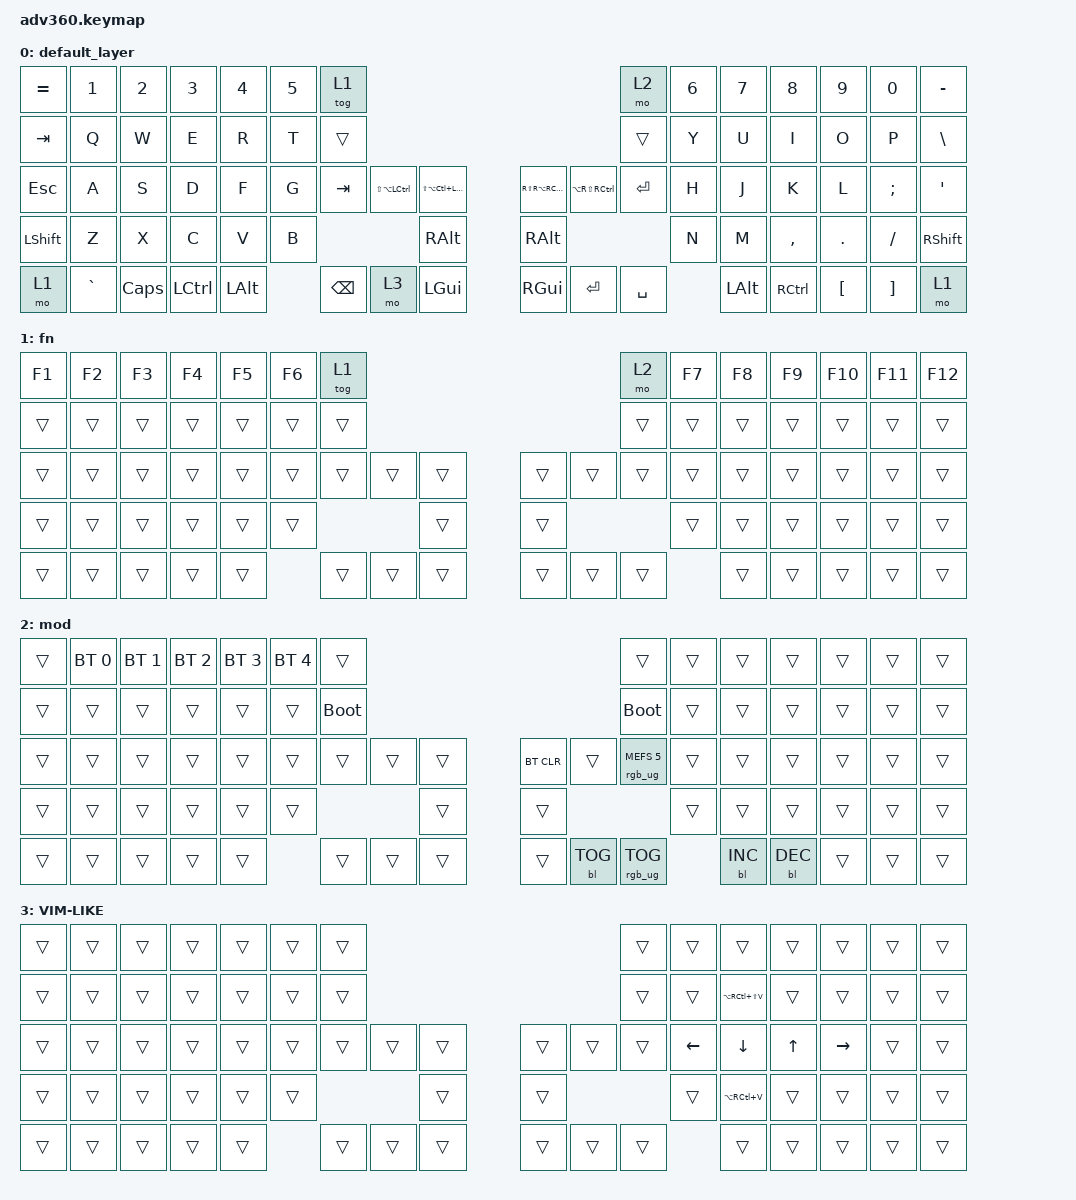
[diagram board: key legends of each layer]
#include <behaviors.dtsi>
#include <dt-bindings/zmk/backlight.h>
#include <dt-bindings/zmk/bt.h>
#include <dt-bindings/zmk/keys.h>
#include <dt-bindings/zmk/rgb.h>

/ {
    behaviors {
        #include "macros.dtsi"

        hm: homerow_mods {
            compatible = "zmk,behavior-hold-tap";
            label = "HOMEROW_MODS";
            #binding-cells = <2>;
            tapping-term-ms = <200>;
            quick_tap_ms = <175>;
            flavor = "tap-preferred";
            bindings = <&kp>, <&kp>;
        };
    };

    macros {
    };

    keymap {
        compatible = "zmk,keymap";

        default_layer {
            bindings = <
&kp EQUAL  &kp N1     &kp N2    &kp N3     &kp N4    &kp N5  &tog 1                                                                                          &mo 2      &kp N6  &kp N7    &kp N8     &kp N9    &kp N0    &kp MINUS
&kp TAB    &kp Q      &kp W     &kp E      &kp R     &kp T   &trans                                                                                          &trans     &kp Y   &kp U     &kp I      &kp O     &kp P     &kp BSLH
&kp ESC    &kp A      &kp S     &kp D      &kp F     &kp G   &kp TAB   &kp LS(LA(LCTRL))  &kp LS(LA(LC(LGUI)))      &kp RS(RA(RC(RGUI)))  &kp LA(RS(RCTRL))  &kp ENTER  &kp H   &kp J     &kp K      &kp L     &kp SEMI  &kp SQT
&kp LSHFT  &kp Z      &kp X     &kp C      &kp V     &kp B                                &kp RALT                  &kp RALT                                            &kp N   &kp M     &kp COMMA  &kp DOT   &kp FSLH  &kp RSHFT
&mo 1      &kp GRAVE  &kp CAPS  &kp LCTRL  &kp LALT          &kp BSPC  &mo 3              &kp LGUI                  &kp RGUI              &kp ENTER          &kp SPACE          &kp LALT  &kp RCTRL  &kp LBKT  &kp RBKT  &mo 1
            >;
        };

        fn {
            bindings = <
&kp F1  &kp F2  &kp F3  &kp F4  &kp F5  &kp F6  &tog 1                                      &mo 2   &kp F7  &kp F8  &kp F9  &kp F10  &kp F11  &kp F12
&trans  &trans  &trans  &trans  &trans  &trans  &trans                                      &trans  &trans  &trans  &trans  &trans   &trans   &trans
&trans  &trans  &trans  &trans  &trans  &trans  &trans  &trans  &trans      &trans  &trans  &trans  &trans  &trans  &trans  &trans   &trans   &trans
&trans  &trans  &trans  &trans  &trans  &trans                  &trans      &trans                  &trans  &trans  &trans  &trans   &trans   &trans
&trans  &trans  &trans  &trans  &trans          &trans  &trans  &trans      &trans  &trans  &trans          &trans  &trans  &trans   &trans   &trans
            >;
        };

        mod {
            bindings = <
&trans  &bt BT_SEL 0  &bt BT_SEL 1  &bt BT_SEL 2  &bt BT_SEL 3  &bt BT_SEL 4  &trans                                                   &trans                  &trans  &trans      &trans      &trans  &trans  &trans
&trans  &trans        &trans        &trans        &trans        &trans        &bootloader                                              &bootloader             &trans  &trans      &trans      &trans  &trans  &trans
&trans  &trans        &trans        &trans        &trans        &trans        &trans       &trans  &trans      &bt BT_CLR  &trans      &rgb_ug RGB_MEFS_CMD 5  &trans  &trans      &trans      &trans  &trans  &trans
&trans  &trans        &trans        &trans        &trans        &trans                             &trans      &trans                                          &trans  &trans      &trans      &trans  &trans  &trans
&trans  &trans        &trans        &trans        &trans                      &trans       &trans  &trans      &trans      &bl BL_TOG  &rgb_ug RGB_TOG                 &bl BL_INC  &bl BL_DEC  &trans  &trans  &trans
            >;
        };

        VIM-LIKE {
            bindings = <
&trans  &trans  &trans  &trans  &trans  &trans  &trans                                      &trans  &trans    &trans             &trans  &trans     &trans  &trans
&trans  &trans  &trans  &trans  &trans  &trans  &trans                                      &trans  &trans    &kp LA(RC(LS(V)))  &trans  &trans     &trans  &trans
&trans  &trans  &trans  &trans  &trans  &trans  &trans  &trans  &trans      &trans  &trans  &trans  &kp LEFT  &kp DOWN           &kp UP  &kp RIGHT  &trans  &trans
&trans  &trans  &trans  &trans  &trans  &trans                  &trans      &trans                  &trans    &kp LA(RC(V))      &trans  &trans     &trans  &trans
&trans  &trans  &trans  &trans  &trans          &trans  &trans  &trans      &trans  &trans  &trans            &trans             &trans  &trans     &trans  &trans
            >;
        };
    };
};
